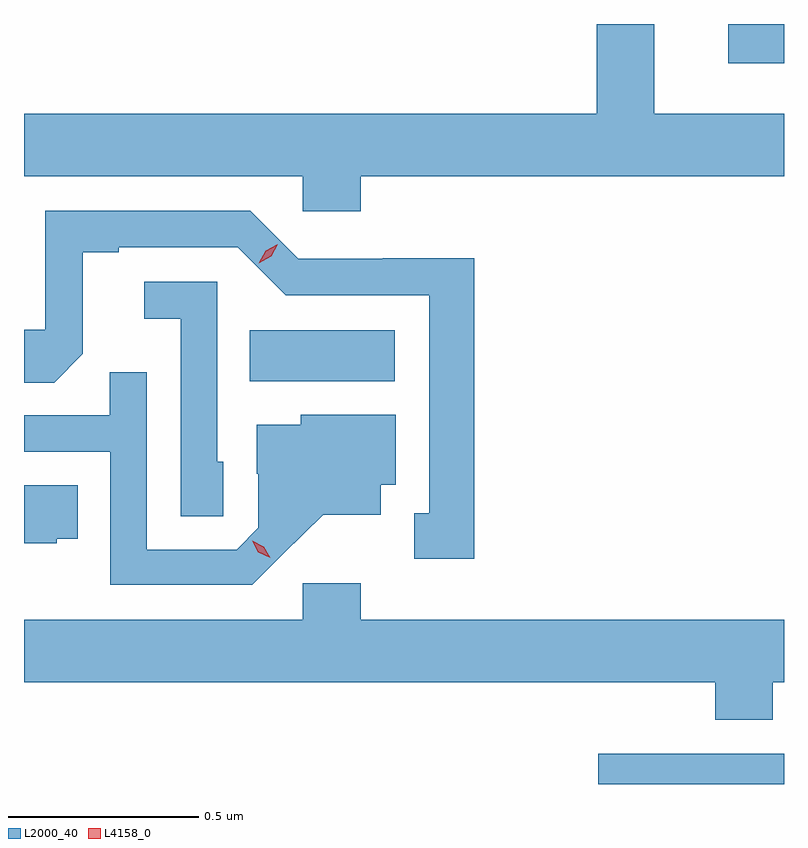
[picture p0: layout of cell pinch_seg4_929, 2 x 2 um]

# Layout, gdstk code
import gdstk
lib = gdstk.Library(unit=1e-6, precision=1e-09)
def R(c, l, rs):  # rectangles x0, y0, x1, y1
    for r in rs: c.add(gdstk.rectangle(r[:2], r[2:], *l))
def P(c, l, *ps):  # polygons
    for p in ps: c.add(gdstk.Polygon(p, *l))
L2000_40 = (2000, 40)
L4158_0 = (4158, 0)

pinch_seg4_929 = lib.new_cell('pinch_seg4_929')
R(pinch_seg4_929, L2000_40, [(745.455,825.856,745.944,825.936), (744.538,826.916,744.919,827.05), (745.797,827.753,745.944,827.856)])
P(pinch_seg4_929, L2000_40, [(744.83,827.456),(745.944,827.456),(745.944,827.62),(745.603,827.62),(745.603,827.856),(745.451,827.856),(745.451,827.62),(743.944,827.62),(743.944,827.456),(744.678,827.456),(744.678,827.363),(744.83,827.363)],
  [(745.129,827.24),(744.888,827.24),(744.888,827.238),(744.666,827.238),(744.54,827.364),(744,827.364),(744,827.052),(743.944,827.052),(743.944,826.912),(744.023,826.912),(744.099,826.988),(744.099,827.256),(744.193,827.256),(744.193,827.268),(744.507,827.268),(744.633,827.142),(745.01,827.142),(745.01,826.569),(744.971,826.569),(744.971,826.449),(745.129,826.449)],
  [(744.468,826.704),(744.453,826.704),(744.453,827.178),(744.261,827.178),(744.261,827.081),(744.357,827.081),(744.357,826.561),(744.468,826.561)],
  [(744.628,826.463),(744.731,826.565),(744.883,826.565),(744.883,826.644),(744.922,826.644),(744.922,826.828),(744.672,826.828),(744.672,826.801),(744.557,826.801),(744.557,826.672),(744.561,826.672),(744.561,826.53),(744.504,826.473),(744.267,826.473),(744.267,826.94),(744.169,826.94),(744.169,826.827),(743.944,826.827),(743.944,826.731),(744.171,826.731),(744.171,826.38),(744.544,826.38)],
  [(744.03,826.502),(744.086,826.502),(744.086,826.642),(743.944,826.642),(743.944,826.49),(744.03,826.49)],
  [(745.915,826.124),(745.944,826.124),(745.944,826.288),(744.83,826.288),(744.83,826.384),(744.678,826.384),(744.678,826.288),(743.944,826.288),(743.944,826.124),(745.763,826.124),(745.763,826.025),(745.915,826.025)])
P(pinch_seg4_929, L4158_0, [(744.562,827.227),(744.562,827.227),(744.58,827.259),(744.612,827.277),(744.612,827.277),(744.612,827.277),(744.594,827.245),(744.562,827.227)],
  [(744.592,826.452),(744.561,826.466),(744.544,826.496),(744.544,826.496),(744.544,826.496),(744.575,826.481),(744.592,826.452),(744.592,826.452)])

lib.write_gds('pinch_seg4_929.gds')
